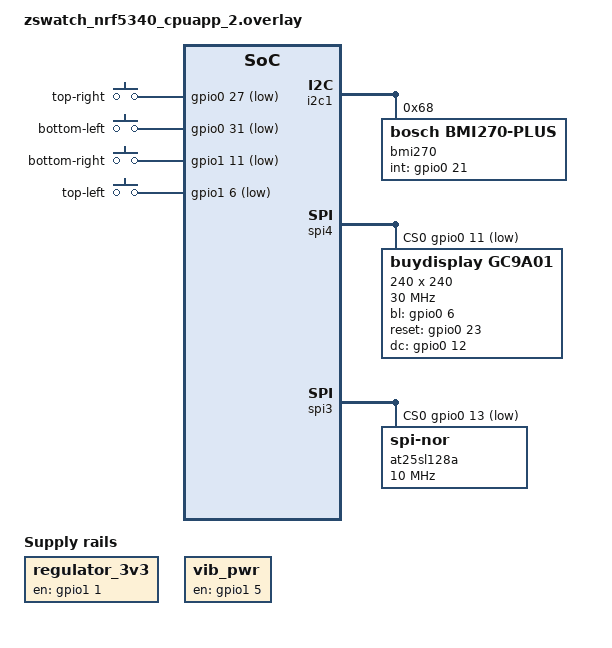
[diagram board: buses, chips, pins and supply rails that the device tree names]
/ {
	chosen {
		nordic,pm-ext-flash = &at25sl128a;
	};

    longpress: longpress {
        input = <&buttons>;
        compatible = "zephyr,input-longpress";
        input-codes = <INPUT_KEY_KP0>;
        short-codes = <INPUT_KEY_4>;
        long-codes = <INPUT_KEY_Y>;
        long-delay-ms = <1000>;
    };

	buttons: buttons {
        compatible = "gpio-keys";
        button1: button_1 {
            label = "top-right";
            gpios = <&gpio0 27 (GPIO_PULL_UP | GPIO_ACTIVE_LOW)>;
            zephyr,code = <INPUT_KEY_1>;
        };
        button2: button_2 {
            label = "bottom-left";
            gpios = <&gpio0 31 (GPIO_PULL_UP | GPIO_ACTIVE_LOW)>;
            zephyr,code = <INPUT_KEY_2>;
        };
        button3: button_3 {
            label = "bottom-right";
            gpios = <&gpio1 11 (GPIO_PULL_UP | GPIO_ACTIVE_LOW)>;
            zephyr,code = <INPUT_KEY_3>;
        };
        button4: button_4 {
            label = "top-left";
            gpios = <&gpio1 6 (GPIO_PULL_UP | GPIO_ACTIVE_LOW)>;
            zephyr,code = <INPUT_KEY_KP0>;
        };
    };

	regulator_3v3: regulator-3v3-ctrl {
        compatible = "regulator-fixed";
        regulator-name = "display";
        enable-gpios = <&gpio1 1 GPIO_ACTIVE_HIGH>;
        regulator-boot-on;
        startup-delay-us = <50000>;
    };

	vib_pwr: vib-pwr-ctrl {
        compatible = "regulator-fixed";
        regulator-name = "vib-pwr-ctrl";
        enable-gpios = <&gpio1 5 GPIO_ACTIVE_HIGH>;
    };
};

&i2c1 {
    bmi270: bmi270@68 {
        compatible = "bosch,bmi270-plus";
        reg = <0x68>;
        status = "okay";
        int-gpios = <&gpio0 21 (GPIO_PULL_DOWN | GPIO_ACTIVE_HIGH)>;
        invert-x;
        invert-y;
    };
};

&spi4  {
    status = "okay";
    compatible = "nordic,nrf-spim";
    pinctrl-0 = <&spi4_default>;
    pinctrl-1 = <&spi4_sleep>;
    pinctrl-names = "default", "sleep";
    cs-gpios = <&gpio0 11 GPIO_ACTIVE_LOW>;

    gc9a01: gc9a01@0 {
        compatible = "buydisplay,gc9a01";
        status = "okay";
        spi-max-frequency = <30000000>;
        reg = <0>;
        width = <240>;
        height = <240>;
        bl-gpios = <&gpio0 6 GPIO_ACTIVE_HIGH>;
        reset-gpios = <&gpio0 23 GPIO_ACTIVE_HIGH>;
        dc-gpios = <&gpio0 12 GPIO_ACTIVE_HIGH>;
    };
};

&spi3  {
    status = "okay";
    compatible = "nordic,nrf-spim";
    pinctrl-0 = <&spi3_default>;
    pinctrl-1 = <&spi3_sleep>;
    pinctrl-names = "default", "sleep";
    cs-gpios = <&gpio0 13 GPIO_ACTIVE_LOW>;
    at25sl128a: at25sl128a@0 {
		compatible = "jedec,spi-nor";
		reg = <0>;
		status = "okay";
		spi-max-frequency = <10000000>;
		jedec-id = [ 1f 42 18];
		size = <DT_SIZE_M(16*8)>;
		has-dpd;
        // CS High to Power-Down Mode (tDP) - 3 us
        // Rev. S Table 26. AC Electrical Characteristic
		t-enter-dpd = <3000>;
        // CS High to Standby Mode without Electronic Signature Read (tRES1) 3 us
        // Rev. S Table 26. AC Electrical Characteristic
		t-exit-dpd = <3000>;
	};
};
